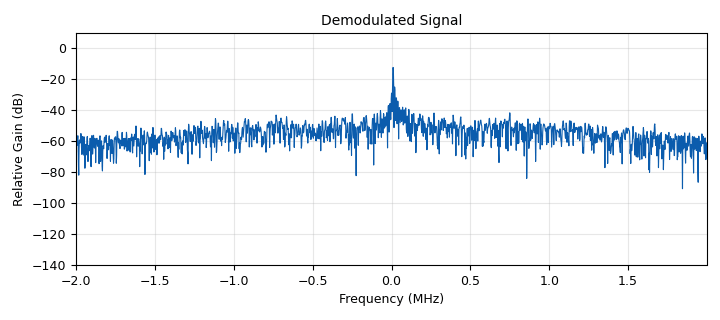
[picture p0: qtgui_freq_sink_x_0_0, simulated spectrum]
options:
  parameters:
    author: Ben Cometto
    generate_options: qt_gui
    id: fmcw_sim
    output_language: python
    title: LFMCW Radar Simulation
  states: {}

blocks:
- name: alpha
  id: variable
  parameters:
    value: (max_freq-min_freq)/t_chirp
  states: {}
- name: c
  id: variable
  parameters:
    value: '300000000'
  states: {}
- name: delay_samples
  id: variable
  parameters:
    value: int(delay_time*samp_rate)
  states: {}
- name: delay_time
  id: variable
  parameters:
    value: 2*distance_m/c
  states: {}
- name: df
  id: variable
  parameters:
    value: samp_rate/k_bins
  states: {}
- name: distance_m
  id: variable
  parameters:
    value: '100'
  states: {state: disabled}
- name: distance_m
  id: variable_qtgui_range
  parameters:
    label: Object Distance
    start: '0'
    step: '1'
    stop: distance_max_m
    value: '100'
  states: {}
- name: distance_max_m
  id: variable
  parameters:
    value: '200'
  states: {}
- name: distance_per_sample
  id: variable
  parameters:
    value: c/samp_rate/2
  states: {}
- name: f_b_ideal
  id: variable
  parameters:
    value: 2*distance_m*alpha/c
  states: {}
- name: k_bins
  id: variable
  parameters:
    value: 2**14
  states: {}
- name: max_freq
  id: variable
  parameters:
    value: samp_rate*0.3
  states: {}
- name: min_freq
  id: variable
  parameters:
    value: '-max_freq'
  states: {}
- name: reflection_amplitude
  id: variable
  parameters:
    value: '0.75'
  states: {}
- name: samp_rate
  id: variable
  parameters:
    value: int(4e6)
  states: {}
- name: t_chirp
  id: variable
  parameters:
    value: '0.0001'
  states: {}
- name: analog_noise_source_x_0
  id: analog_noise_source_x
  parameters:
    amp: '0.05'
    noise_type: analog.GR_GAUSSIAN
    seed: '0'
    type: float
  states: {}
- name: analog_sig_source_x_0
  id: analog_sig_source_x
  parameters:
    amp: '1'
    freq: 1/t_chirp
    offset: '0'
    phase: '0'
    samp_rate: samp_rate
    type: float
    waveform: analog.GR_SAW_WAVE
  states: {}
- name: analog_sig_source_x_1
  id: analog_sig_source_x
  parameters:
    amp: '1'
    freq: '10000'
    offset: '0'
    phase: '0'
    samp_rate: samp_rate
    type: complex
    waveform: analog.GR_COS_WAVE
  states: {state: disabled}
- name: blocks_add_const_vxx_0
  id: blocks_add_const_vxx
  parameters:
    const: min_freq
    type: float
  states: {}
- name: blocks_add_xx_0
  id: blocks_add_xx
  parameters:
    type: float
  states: {}
- name: blocks_argmax_xx_1
  id: blocks_argmax_xx
  parameters:
    num_inputs: '1'
    type: float
    vlen: k_bins
  states: {}
- name: blocks_complex_to_mag_squared_0
  id: blocks_complex_to_mag_squared
  parameters:
    vlen: k_bins
  states: {}
- name: blocks_delay_0
  id: blocks_delay
  parameters:
    delay: delay_samples
    type: complex
  states: {}
- name: blocks_multiply_conjugate_cc_0
  id: blocks_multiply_conjugate_cc
  parameters: {}
  states: {}
- name: blocks_multiply_const_vxx_0
  id: blocks_multiply_const_vxx
  parameters:
    const: (max_freq-min_freq)
    type: float
  states: {}
- name: blocks_multiply_const_vxx_1
  id: blocks_multiply_const_vxx
  parameters:
    const: 1*df
    type: float
  states: {}
- name: blocks_multiply_const_vxx_1_0
  id: blocks_multiply_const_vxx
  parameters:
    const: c/2/alpha
    type: float
  states: {}
- name: blocks_multiply_const_vxx_2
  id: blocks_multiply_const_vxx
  parameters:
    const: reflection_amplitude
    type: complex
  states: {}
- name: blocks_null_sink_0
  id: blocks_null_sink
  parameters:
    type: short
  states: {}
- name: blocks_short_to_float_0
  id: blocks_short_to_float
  parameters:
    scale: '1'
  states: {}
- name: blocks_stream_to_vector_0_0
  id: blocks_stream_to_vector
  parameters:
    num_items: k_bins
    type: complex
  states: {}
- name: blocks_throttle2_0
  id: blocks_throttle2
  parameters:
    samples_per_second: samp_rate
    type: float
  states: {}
- name: blocks_vco_c_0
  id: blocks_vco_c
  parameters:
    amplitude: '1'
    samp_rate: samp_rate
    sensitivity: 2*np.pi
  states: {}
- name: fft_vxx_0_0
  id: fft_vxx
  parameters:
    fft_size: k_bins
    forward: 'True'
    nthreads: '2'
    shift: 'False'
    type: complex
    window: window.blackmanharris(k_bins)
  states: {}
- name: import_0
  id: import
  parameters:
    imports: import numpy as np
  states: {}
- name: qtgui_freq_sink_x_0
  id: qtgui_freq_sink_x
  parameters:
    bw: samp_rate
    ctrlpanel: 'True'
    fc: '0'
    fftsize: '1024'
    type: complex
  states: {state: disabled}
- name: qtgui_freq_sink_x_0_0
  id: qtgui_freq_sink_x
  parameters:
    bw: samp_rate
    fc: '0'
    fftsize: '2048'
    name: '"Demodulated Signal"'
    type: complex
  states: {}
- name: qtgui_number_sink_0
  id: qtgui_number_sink
  parameters:
    graph_type: qtgui.NUM_GRAPH_VERT
    max: samp_rate/2
    min: '0'
    name: '"beat frequency"'
    type: float
  states: {}
- name: qtgui_number_sink_0_0
  id: qtgui_number_sink
  parameters:
    graph_type: qtgui.NUM_GRAPH_HORIZ
    max: distance_max_m
    min: '0'
    name: '"object distance"'
    type: float
  states: {}
- name: qtgui_number_sink_0_1_0
  id: qtgui_number_sink
  parameters:
    graph_type: qtgui.NUM_GRAPH_VERT
    max: k_bins/2
    min: '0'
    name: '"sample"'
    type: float
  states: {}
- name: qtgui_time_sink_x_0
  id: qtgui_time_sink_x
  parameters:
    ctrlpanel: 'True'
    size: samp_rate*2
    srate: samp_rate
    type: complex
  states: {state: disabled}
- name: qtgui_time_sink_x_0_0
  id: qtgui_time_sink_x
  parameters:
    size: samp_rate
    srate: samp_rate
    type: complex
  states: {state: disabled}
- name: qtgui_time_sink_x_0_1
  id: qtgui_time_sink_x
  parameters:
    ctrlpanel: 'True'
    name: '"Desired Frequency"'
    size: samp_rate*2
    srate: samp_rate
    type: float
    ylabel: '"f"'
    ymin: '0'
    yunit: '"t"'
  states: {state: disabled}
- name: qtgui_vector_sink_f_0
  id: qtgui_vector_sink_f
  parameters:
    autoscale: 'True'
    grid: 'True'
    vlen: k_bins
    x_axis_label: '"Freq"'
    x_start: '0'
    x_step: 1*df
  states: {state: disabled}
- name: qtgui_vector_sink_f_0_0
  id: qtgui_vector_sink_f
  parameters:
    autoscale: 'True'
    grid: 'True'
    name: '"By Sample"'
    vlen: k_bins
    x_axis_label: '"k"'
    x_start: '0'
    x_step: '1'
  states: {state: disabled}
- name: virtual_sink_0
  id: virtual_sink
  parameters:
    stream_id: tx
  states: {}
- name: virtual_sink_0_0
  id: virtual_sink
  parameters:
    stream_id: beat_data
  states: {}
- name: virtual_source_0
  id: virtual_source
  parameters:
    stream_id: tx
  states: {}
- name: virtual_source_0_0
  id: virtual_source
  parameters:
    stream_id: beat_data
  states: {}

connections:
- [analog_noise_source_x_0, '0', blocks_add_xx_0, '1']
- [analog_sig_source_x_0, '0', blocks_throttle2_0, '0']
- [analog_sig_source_x_1, '0', blocks_stream_to_vector_0_0, '0']
- [blocks_add_const_vxx_0, '0', blocks_vco_c_0, '0']
- [blocks_add_xx_0, '0', blocks_multiply_const_vxx_0, '0']
- [blocks_add_xx_0, '0', qtgui_time_sink_x_0_1, '0']
- [blocks_argmax_xx_1, '0', virtual_sink_0_0, '0']
- [blocks_argmax_xx_1, '1', blocks_null_sink_0, '0']
- [blocks_complex_to_mag_squared_0, '0', blocks_argmax_xx_1, '0']
- [blocks_complex_to_mag_squared_0, '0', qtgui_vector_sink_f_0, '0']
- [blocks_complex_to_mag_squared_0, '0', qtgui_vector_sink_f_0_0, '0']
- [blocks_delay_0, '0', blocks_multiply_const_vxx_2, '0']
- [blocks_multiply_conjugate_cc_0, '0', blocks_stream_to_vector_0_0, '0']
- [blocks_multiply_conjugate_cc_0, '0', qtgui_freq_sink_x_0_0, '0']
- [blocks_multiply_conjugate_cc_0, '0', qtgui_time_sink_x_0_0, '0']
- [blocks_multiply_const_vxx_0, '0', blocks_add_const_vxx_0, '0']
- [blocks_multiply_const_vxx_1, '0', blocks_multiply_const_vxx_1_0, '0']
- [blocks_multiply_const_vxx_1, '0', qtgui_number_sink_0, '0']
- [blocks_multiply_const_vxx_1_0, '0', qtgui_number_sink_0_0, '0']
- [blocks_multiply_const_vxx_2, '0', blocks_multiply_conjugate_cc_0, '1']
- [blocks_short_to_float_0, '0', blocks_multiply_const_vxx_1, '0']
- [blocks_short_to_float_0, '0', qtgui_number_sink_0_1_0, '0']
- [blocks_stream_to_vector_0_0, '0', fft_vxx_0_0, '0']
- [blocks_throttle2_0, '0', blocks_add_xx_0, '0']
- [blocks_vco_c_0, '0', qtgui_freq_sink_x_0, '0']
- [blocks_vco_c_0, '0', qtgui_time_sink_x_0, '0']
- [blocks_vco_c_0, '0', virtual_sink_0, '0']
- [fft_vxx_0_0, '0', blocks_complex_to_mag_squared_0, '0']
- [virtual_source_0, '0', blocks_delay_0, '0']
- [virtual_source_0, '0', blocks_multiply_conjugate_cc_0, '0']
- [virtual_source_0_0, '0', blocks_short_to_float_0, '0']

metadata:
  file_format: 1
  grc_version: 3.10.10.0
